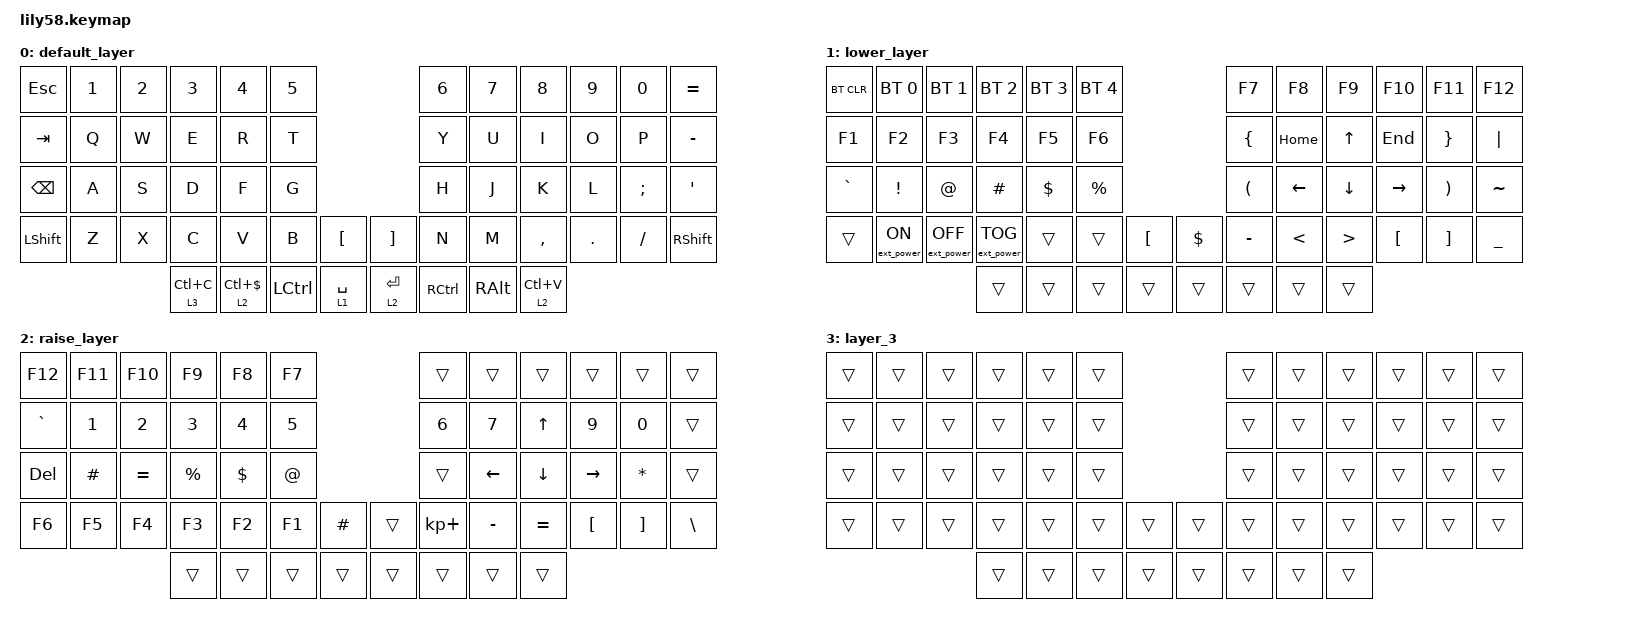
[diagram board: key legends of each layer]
/*
 * Copyright (c) 2020 The ZMK Contributors
 *
 * SPDX-License-Identifier: MIT
 */

#include <behaviors.dtsi>
#include <dt-bindings/zmk/bt.h>
#include <dt-bindings/zmk/ext_power.h>
#include <dt-bindings/zmk/keys.h>

/ {
    combos {
        compatible = "zmk,combos";

        combo_esc {
            timeout-ms = <50>;
            key-positions = <0 1>;
            bindings = <&kp ESC>;
        };
    };

    behaviors {
        ss_hs_modmorph: ss_hs_modmorph {
            compatible = "zmk,behavior-mod-morph";
            label = "SS_HS_MODMORPH";
            bindings = <&kp M>, <&kp RIGHT_BRACKET>;

            #binding-cells = <0>;
            mods = <(MOD_LSFT|MOD_RSFT)>;
        };

        kh_hs_tapdance: kh_hs_tapdance {
            compatible = "zmk,behavior-tap-dance";
            label = "KH_HS_TAPDANCE";
            #binding-cells = <0>;
            tapping-term-ms = <200>;
            bindings = <&kp LEFT_BRACKET>, <&kp RIGHT_BRACKET>;
        };

        hrm: hrm {
            compatible = "zmk,behavior-hold-tap";
            #binding-cells = <2>;
            flavor = "tap-preferred";
            tapping-term-ms = <200>;
            quick-tap-ms = <200>;
            require-prior-idle-ms = <125>;
            bindings = <&kp>, <&kp>;
        };
    };

    keymap {
        compatible = "zmk,keymap";

        default_layer {
            // ------------------------------------------------------------------------------------------------------------
            // |  ESC  |  1  |  2  |  3   |  4   |  5   |                   |  6   |  7    |  8    |  9   |   0   |   `   |
            // |  TAB  |  Q  |  W  |  E   |  R   |  T   |                   |  Y   |  U    |  I    |  O   |   P   |   -   |
            // |  CTRL |  A  |  S  |  D   |  F   |  G   |                   |  H   |  J    |  K    |  L   |   ;   |   '   |
            // | SHIFT |  Z  |  X  |  C   |  V   |  B   |   "["  |  |  "]"  |  N   |  M    |  ,    |  .   |   /   | SHIFT |
            //                     | ALT  | GUI  | LOWER|  SPACE |  | ENTER | RAISE| BSPC  | GUI   |

            bindings = <
&kp ESC        &kp N1  &kp N2  &kp N3       &kp N4            &kp N5                                            &kp N6     &kp N7         &kp N8       &kp N9   &kp N0    &kp EQUAL
&kp TAB        &kp Q   &kp W   &kp E        &kp R             &kp T                                             &kp Y      &kp U          &kp I        &kp O    &kp P     &kp MINUS
&kp BACKSPACE  &kp A   &kp S   &kp D        &kp F             &kp G                                             &kp H      &kp J          &kp K        &kp L    &kp SEMI  &kp SQT
&kp LSHFT      &kp Z   &kp X   &kp C        &kp V             &kp B      &kp LEFT_BRACKET    &kp RIGHT_BRACKET  &kp N      &kp M          &kp COMMA    &kp DOT  &kp FSLH  &kp RSHFT
                               &lt 3 LC(C)  &lt 2 LC(DOLLAR)  &kp LCTRL  &lt 1 SPACE         &lt 2 ENTER        &kp RCTRL  &kp RIGHT_ALT  &lt 2 LC(V)
            >;

        };

        lower_layer {
            // ------------------------------------------------------------------------------------------------------------
            // | BTCLR | BT1 | BT2 |  BT3 |  BT4 |  BT5 |                   |      |       |       |      |       |       |
            // |  F1   |  F2 |  F3 |  F4  |  F5  |  F6  |                   |  F7  |  F8   |  F9   |  F10 |  F11  |  F12  |
            // |   `   |  !  |  @  |  #   |  $   |  %   |                   |  ^   |  &    |  *    |  (   |   )   |   ~   |
            // |       |     |     |      |      |      |        |  |       |      |  _    |  +    |  {   |   }   |  "|"  |
            //                     |      |      |      |        |  |       |      |       |       |

            bindings = <
&bt BT_CLR  &bt BT_SEL 0      &bt BT_SEL 1       &bt BT_SEL 2       &bt BT_SEL 3  &bt BT_SEL 4                                  &kp F7                &kp F8         &kp F9            &kp F10           &kp F11            &kp F12
&kp F1      &kp F2            &kp F3             &kp F4             &kp F5        &kp F6                                        &kp LEFT_BRACE        &kp HOME       &kp UP_ARROW      &kp END           &kp RIGHT_BRACE    &kp PIPE
&kp GRAVE   &kp EXCL          &kp AT             &kp HASH           &kp DOLLAR    &kp PRCNT                                     &kp LEFT_PARENTHESIS  &kp LEFT       &kp DOWN          &kp RIGHT         &kp RPAR           &kp TILDE
&trans      &ext_power EP_ON  &ext_power EP_OFF  &ext_power EP_TOG  &trans        &trans        &kp LEFT_BRACKET    &kp DOLLAR  &kp MINUS             &kp LESS_THAN  &kp GREATER_THAN  &kp LEFT_BRACKET  &kp RIGHT_BRACKET  &kp UNDERSCORE
                                                 &trans             &trans        &trans        &trans              &trans      &trans                &trans         &trans
            >;

        };

        raise_layer {
            // ------------------------------------------------------------------------------------------------------------
            // |       |     |     |      |      |      |                   |      |       |       |      |       |       |
            // |   `   |  1  |  2  |  3   |  4   |  5   |                   |  6   |   7   |   8   |  9   |   0   |       |
            // |   F1  |  F2 |  F3 |  F4  |  F5  |  F6  |                   |      |   <-  |   v   |  ^   |  ->   |       |
            // |   F7  |  F8 |  F9 |  F10 |  F11 |  F12 |        |  |       |  +   |   -   |   =   |  [   |   ]   |   \   |
            //                     |      |      |      |        |  |       |      |       |       |

            bindings = <
&kp F12    &kp F11   &kp F10    &kp F9       &kp F8      &kp F7                           &trans       &trans     &trans        &trans     &trans        &trans
&kp GRAVE  &kp N1    &kp N2     &kp N3       &kp N4      &kp N5                           &kp N6       &kp N7     &kp UP_ARROW  &kp N9     &kp N0        &trans
&kp DEL    &kp HASH  &kp EQUAL  &kp PERCENT  &kp DOLLAR  &kp AT_SIGN                      &trans       &kp LEFT   &kp DOWN      &kp RIGHT  &kp ASTERISK  &trans
&kp F6     &kp F5    &kp F4     &kp F3       &kp F2      &kp F1       &kp HASH    &trans  &kp KP_PLUS  &kp MINUS  &kp EQUAL     &kp LBKT   &kp RBKT      &kp BSLH
                                &trans       &trans      &trans       &trans      &trans  &trans       &trans     &trans
            >;

        };

        layer_3 {
            bindings = <
&trans  &trans  &trans  &trans  &trans  &trans                    &trans  &trans  &trans  &trans  &trans  &trans
&trans  &trans  &trans  &trans  &trans  &trans                    &trans  &trans  &trans  &trans  &trans  &trans
&trans  &trans  &trans  &trans  &trans  &trans                    &trans  &trans  &trans  &trans  &trans  &trans
&trans  &trans  &trans  &trans  &trans  &trans  &trans    &trans  &trans  &trans  &trans  &trans  &trans  &trans
                        &trans  &trans  &trans  &trans    &trans  &trans  &trans  &trans
            >;
        };
    };
};
